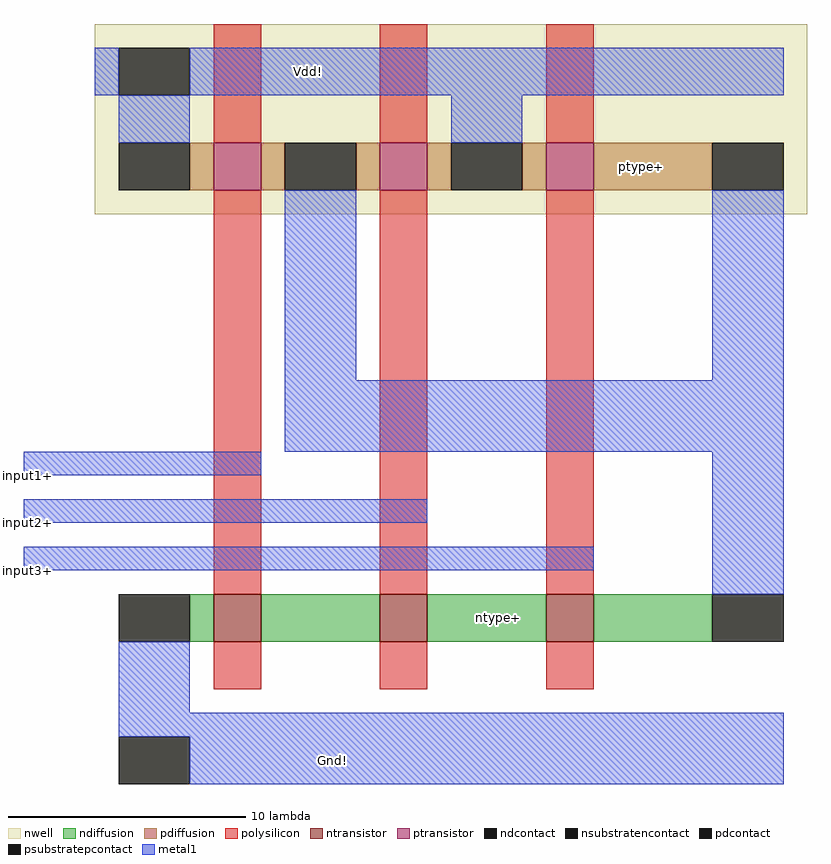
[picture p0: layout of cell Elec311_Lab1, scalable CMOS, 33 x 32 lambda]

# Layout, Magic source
magic
tech scmos
<< nwell >>
rect -14 1 16 9
<< polysilicon >>
rect -9 4 -7 9
rect -2 4 0 9
rect 5 4 7 9
rect -9 -15 -7 2
rect -2 -15 0 2
rect 5 -15 7 2
rect -9 -19 -7 -17
rect -2 -19 0 -17
rect 5 -19 7 -17
<< ndiffusion >>
rect -10 -17 -9 -15
rect -7 -17 -2 -15
rect 0 -17 5 -15
rect 7 -17 12 -15
<< pdiffusion >>
rect -10 2 -9 4
rect -7 2 -6 4
rect -3 2 -2 4
rect 0 2 1 4
rect 4 2 5 4
rect 7 2 12 4
<< metal1 >>
rect -14 6 -13 8
rect -10 6 15 8
rect -13 4 -10 6
rect 1 4 4 6
rect -6 -6 -3 2
rect 12 -6 15 2
rect -6 -9 15 -6
rect -17 -10 -7 -9
rect -17 -12 0 -11
rect -17 -14 7 -13
rect 12 -15 15 -9
rect -13 -20 -10 -17
rect -13 -21 15 -20
rect -10 -23 15 -21
<< ntransistor >>
rect -9 -17 -7 -15
rect -2 -17 0 -15
rect 5 -17 7 -15
<< ptransistor >>
rect -9 2 -7 4
rect -2 2 0 4
rect 5 2 7 4
<< ndcontact >>
rect -13 -17 -10 -15
rect 12 -17 15 -15
<< pdcontact >>
rect -13 2 -10 4
rect -6 2 -3 4
rect 1 2 4 4
rect 12 2 15 4
<< psubstratepcontact >>
rect -13 -23 -10 -21
<< nsubstratencontact >>
rect -13 6 -10 8
<< labels >>
rlabel metal1 -5 7 -5 7 5 Vdd!
rlabel metal1 -4 -22 -4 -22 1 Gnd!
rlabel ndiffusion 3 -16 3 -16 1 ntype+
rlabel pdiffusion 9 3 9 3 1 ptype+
rlabel metal1 -17 -10 -17 -10 3 input1+
rlabel metal1 -17 -12 -17 -12 3 input2+
rlabel metal1 -17 -14 -17 -14 3 input3+
<< end >>
